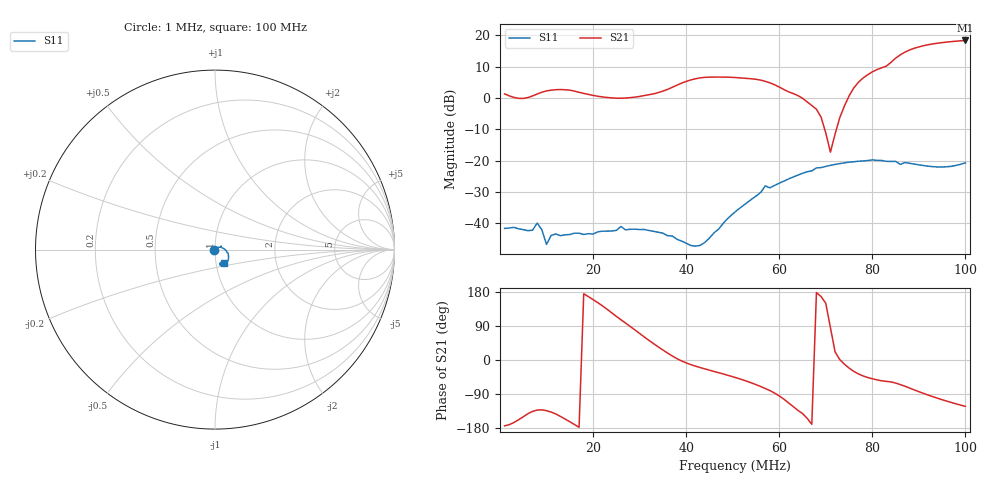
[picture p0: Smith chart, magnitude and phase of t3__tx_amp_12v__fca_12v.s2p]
# HZ S RI R 50
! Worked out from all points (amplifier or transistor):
!   100 points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, 1 MHz to 100 MHz, reference 50 ohm
!   highest |S21| = 18.4 dB at 100 MHz (marker M1)
!   |S21| within 3 dB of that: 88.09 MHz to end of sweep
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1000001  -0.00829 3.88e-05  -1.159 -0.1275  0 0  0 0
8000001  -0.0101 -0.000309  -0.7789 -0.8621  0 0  0 0
1e7  -0.00446 -0.0011  -0.9001 -0.9399  0 0  0 0
1.5e7  -0.00588 -0.00304  -1.281 -0.3927  0 0  0 0
1.8e7  -0.00585 -0.00314  -1.184 0.1067  0 0  0 0
2.7e7  -0.00633 -0.00466  -0.1281 0.995  0 0  0 0
3.4e7  -0.00668 -0.00272  1.006 0.695  0 0  0 0
4.2e7  -0.00335 0.00272  1.955 -0.5664  0 0  0 0
5.1e7  0.0116 0.0114  1.424 -1.569  0 0  0 0
5.8e7  0.035 0.0116  0.2823 -1.73  0 0  0 0
6.3e7  0.0549 0.000994  -0.6402 -0.9936  0 0  0 0
6.7e7  0.067 -0.0153  -0.749 -0.1357  0 0  0 0
6.9e7  0.073 -0.0263  -0.4824 0.1084  0 0  0 0
7.1e7  0.0753 -0.0377  0.0106 0.1364  0 0  0 0
7.4e7  0.0742 -0.055  0.7317 -0.1432  0 0  0 0
7.7e7  0.0677 -0.0709  1.429 -1.064  0 0  0 0
8.4e7  0.041 -0.0883  1.981 -3.141  0 0  0 0
8.7e7  0.0312 -0.088  1.933 -5.053  0 0  0 0
8.9e7  0.0272 -0.0841  1.209 -6.128  0 0  0 0
9.2e7  0.0266 -0.0773  -0.3168 -7.113  0 0  0 0
9.6e7  0.0357 -0.0717  -2.495 -7.432  0 0  0 0
1e8  0.0524 -0.076  -4.464 -7.028  0 0  0 0
